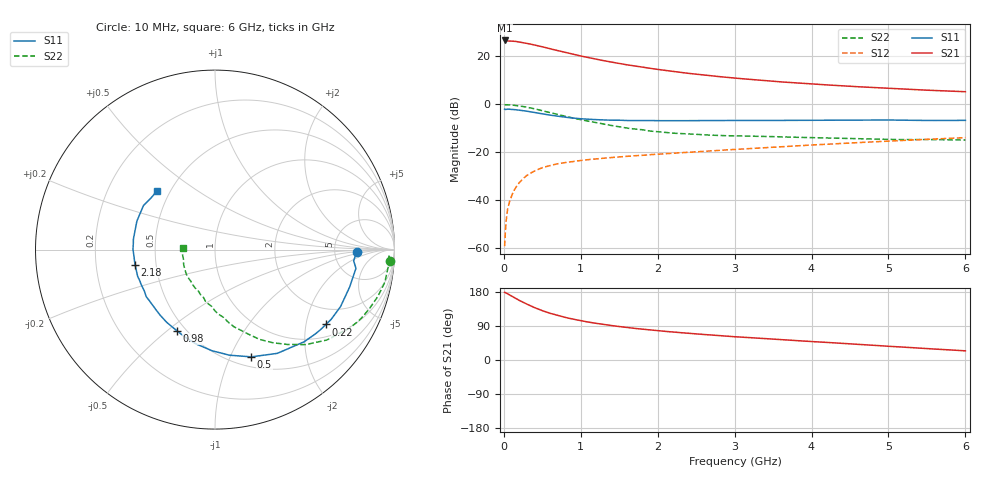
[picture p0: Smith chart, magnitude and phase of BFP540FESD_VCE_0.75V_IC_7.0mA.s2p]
! Infineon Technologies  Discrete & RF Semiconductors
! BFP540FESD
! VCE = 0.75 V,  IC =  7.0 mA
! Common Emitter S-Parameters:  Nov 2015
# GHz  S  MA  R  50
!  f  S11  S21  S12  S22
! GHz  MAG  ANG  MAG  ANG  MAG  ANG  MAG  ANG
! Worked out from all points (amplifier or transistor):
!   210 points, 10 MHz to 6 GHz, reference 50 ohm
!   highest |S21| = 26.6 dB at 10 MHz (marker M1)
!   |S21| within 3 dB of that: start of sweep to 544.5 MHz
!   unconditionally stable (mu >= 1): 2.401 GHz to end of sweep
!   at 185 MHz: K = 0.12, MSG = 29.7 dB, |S12| = -33.4 dB
!   at 1.52 GHz: K = 0.75, MSG = 19.4 dB, |S12| = -21.9 dB
!   at 6 GHz: K = 1.24, MAG = 6.6 dB, |S12| = -14.0 dB
!   S11 on the Smith chart (normalised r, x): 10 MHz: 8.48, -0.56; 220 MHz: 1.39, -2.61; 500 MHz: 0.61, -1.20; 980 MHz: 0.45, -0.54; 2.18 GHz: 0.38, -0.08; 6 GHz: 0.43, +0.35
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0.01  0.7898 -0.9  21.26 178.6  0.0011 97.7  0.9746 -3.8
0.02  0.775 -4.6  20.52 178.0  0.0022 88.3  0.9706 -2.1
0.05  0.7922 -7.6  20.79 174.6  0.0066 89.9  0.9703 -5.4
0.15  0.7682 -24.4  20.39 163.2  0.0178 80.6  0.9444 -16.0
0.22  0.7457 -34.0  19.54 155.4  0.025 73.0  0.9099 -23.1
0.3  0.7143 -46.0  18.59 147.2  0.0328 67.9  0.8652 -30.6
0.4  0.6744 -59.0  17.14 138.2  0.0406 62.6  0.8008 -39.0
0.5  0.6309 -71.3  15.73 130.2  0.0475 58.2  0.731 -46.4
0.6  0.5938 -82.2  14.27 123.3  0.0528 54.6  0.6665 -52.5
0.7  0.564 -91.6  13.07 117.7  0.0573 51.1  0.6126 -58.0
0.8  0.5358 -101.5  11.95 112.3  0.0609 49.2  0.5594 -63.5
0.98  0.4998 -114.9  10.25 104.6  0.0664 46.3  0.4823 -70.9
1.02  0.4942 -117.8  9.931 103.0  0.0677 45.9  0.4679 -72.6
1.2  0.4763 -130.0  8.634 96.7  0.0723 43.9  0.4104 -79.7
1.4  0.4636 -140.5  7.531 90.8  0.0773 42.9  0.3591 -87.2
1.7  0.4554 -154.3  6.247 83.4  0.0842 41.9  0.3033 -97.7
2.02  0.4532 -165.6  5.25 76.9  0.091 41.4  0.2655 -107.4
2.18  0.4533 -169.3  4.858 74.2  0.0946 41.0  0.2505 -111.4
3.1  0.4577 171.1  3.389 60.3  0.1164 39.8  0.2169 -132.5
4.1  0.4629 158.7  2.578 47.6  0.1437 37.2  0.1988 -148.7
5.1  0.4654 147.0  2.106 35.1  0.173 31.9  0.1833 -165.2
6  0.4597 134.4  1.818 24.2  0.2005 26.2  0.1792 176.7
